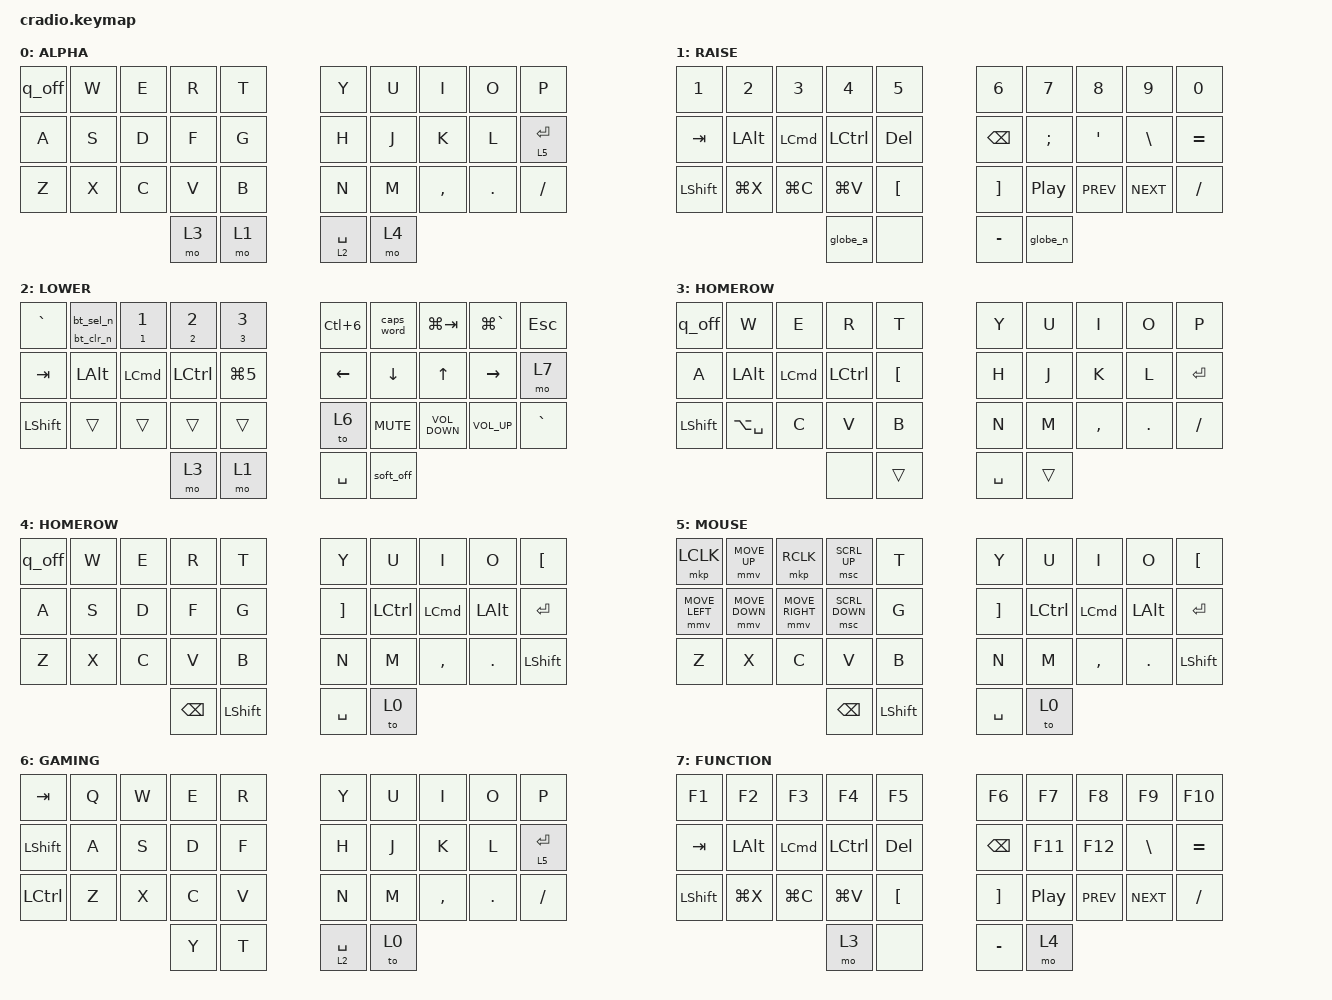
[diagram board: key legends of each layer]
#include <behaviors.dtsi>
#include <dt-bindings/zmk/keys.h>
#include <dt-bindings/zmk/bt.h>

#define ZMK_POINTING_DEFAULT_MOVE_VAL 1500  // default: 600
#define ZMK_POINTING_DEFAULT_SCRL_VAL 20
#include <dt-bindings/zmk/pointing.h>
#include <dt-bindings/zmk/ext_power.h>

#define L0 0
#define L1 1
#define L2 2
#define L3 3
#define L4 4
#define L5 5
#define L6 6
#define L7 7

// 34-key (3x5+2) position map for the Ferris Sweep / cradio shield.
#define KEYS_L 0 1 2 3 4 10 11 12 13 14 20 21 22 23 24 30
#define KEYS_R 5 6 7 8 9 15 16 17 18 19 25 26 27 28 29 32 33
#define THUMBS 30 31 32 33

&soft_off {
  /* Make the peripheral wait for release too, instead of powering off
   * instantly on press. The instant-on-press path races the USB/BLE
   * logging flush and appears to also skip arming the peripheral's
   * wakeup-source reliably, which is why the right half needed a hardware
   * reset to wake. Trade-off: if the BLE link drops mid-press, the
   * peripheral may not get the off command at all (see ZMK docs). */
  /delete-property/ split-peripheral-off-on-press;
};

/ {
  macros {
    globe_a: globe_a {
      compatible = "zmk,behavior-macro";
      #binding-cells = <0>;
      bindings
        = <&macro_press &kp C_AC_NEXT_KEYBOARD_LAYOUT_SELECT>
        , <&macro_tap &kp A>
        , <&macro_release &kp C_AC_NEXT_KEYBOARD_LAYOUT_SELECT>;
    };

    globe_n: globe_n {
      compatible = "zmk,behavior-macro";
      #binding-cells = <0>;
      bindings
        = <&macro_press &kp C_AC_NEXT_KEYBOARD_LAYOUT_SELECT>
        , <&macro_tap &kp N>
        , <&macro_release &kp C_AC_NEXT_KEYBOARD_LAYOUT_SELECT>;
    };

    /* Lock the Mac (Ctrl+Cmd+Q), then soft-off both halves. The 500ms wait
     * after the lock tap gives the HID report time to reach the host over
     * BLE before the radio powers down. &soft_off is global-locality, so the
     * peripheral half is powered off too when invoked from this macro.
     * Triggered by &q_off below, not bound directly. */
    lock_off: lock_off {
      compatible = "zmk,behavior-macro";
      #binding-cells = <0>;
      wait-ms = <15>;
      tap-ms = <30>;
      bindings
        = <&macro_wait_time 500>
        , <&macro_tap &kp LC(LG(Q))>
        , <&macro_tap &soft_off>;
    };

    /* One-param wrappers around &bt so they fit in a hold-tap (which passes
     * a single param to each side). ZMK has no "clear profile N" command --
     * BT_CLR only clears the active profile -- so select N first, then clear. */
    bt_sel_n: bt_sel_n {
      compatible = "zmk,behavior-macro-one-param";
      #binding-cells = <1>;
      bindings
        = <&macro_param_1to2>
        , <&macro_tap &bt BT_SEL_CMD MACRO_PLACEHOLDER>;
    };

    bt_clr_n: bt_clr_n {
      compatible = "zmk,behavior-macro-one-param";
      #binding-cells = <1>;
      bindings
        = <&macro_param_1to2>
        , <&macro_tap &bt BT_SEL_CMD MACRO_PLACEHOLDER>
        , <&macro_tap &bt BT_CLR>;
    };
  };

  behaviors {
    /* &bt_ht N N: tap selects BT profile N; hold 3s selects and clears it.
     * tap-preferred so pressing other keys mid-hold never triggers the clear
     * early -- only the full 3s hold does. */
    bt_ht: bt_ht {
      compatible = "zmk,behavior-hold-tap";
      #binding-cells = <2>;
      flavor = "tap-preferred";
      tapping-term-ms = <3000>;
      bindings = <&bt_clr_n>, <&bt_sel_n>;
    };

    /* Q key that also powers off when pressed as Ctrl+Cmd+Q.
     * A single mod-morph fires if ANY of its mods is held (so Cmd+Q alone
     * would trigger it), hence two nested morphs: Ctrl -> Cmd -> &lock_off.
     * keep-mods stops the outer morph from masking Ctrl out of the report.
     * Any other combo (plain Q, Cmd+Q, Ctrl+Q, ...) is just &kp Q. */
    q_cmd_off: q_cmd_off {
      compatible = "zmk,behavior-mod-morph";
      #binding-cells = <0>;
      bindings = <&kp Q>, <&lock_off>;
      mods = <(MOD_LGUI|MOD_RGUI)>;
      keep-mods = <(MOD_LGUI|MOD_RGUI)>;
    };

    q_off: q_off {
      compatible = "zmk,behavior-mod-morph";
      #binding-cells = <0>;
      bindings = <&kp Q>, <&q_cmd_off>;
      mods = <(MOD_LCTL|MOD_RCTL)>;
      keep-mods = <(MOD_LCTL|MOD_RCTL)>;
    };
  };

  keymap {
    compatible = "zmk,keymap";

    /**
     * Alpha layer (L0)
     *
     * Thumbs (4): the Corne's outer-left CAPS and the right-middle &mo L4 are
     * dropped here -- the Sweep only has two thumb keys per side. CAPS now
     * lives on L2 (bottom row, far right); L4 is entered from L2's outer-right
     * thumb, or from L7.
     */
    layer_0 {
      label = "ALPHA";
      bindings = <
        &q_off    &kp W       &kp E       &kp R        &kp T       &kp Y      &kp U        &kp I       &kp O       &kp P
        &kp A     &kp S       &kp D       &kp F        &kp G       &kp H      &kp J        &kp K       &kp L       &lt L5 RET
        &kp Z     &kp X       &kp C       &kp V        &kp B       &kp N      &kp M        &kp COMMA   &kp DOT     &kp FSLH
                                          &mo L3       &mo L1      &lt L2 SPACE &mo 4
      >;
    };

    /**
     * Symbols layer (L1)
     *
     * Held with the left inner thumb. The Corne's outer-right &sl L3 is dropped
     * (redundant: &mo L3 sits on the left outer thumb of this same layer).
     */
    layer_1 {
      label = "RAISE";
      bindings = <
        &kp N1     &kp N2    &kp N3    &kp N4     &kp N5     &kp N6    &kp N7    &kp N8     &kp N9     &kp N0
        &kp TAB    &kp LALT  &kp LCMD  &kp LCTRL  &kp DEL    &kp BSPC  &kp SEMI  &kp SQT    &kp BSLH   &kp EQUAL
        &kp LSHIFT &kp LG(X) &kp LG(C) &kp LG(V)  &kp LBKT   &kp RBKT  &kp C_PP  &kp C_PREV &kp C_NEXT &kp FSLH
                                       &globe_a     &none      &kp MINUS &globe_n
      >;
    };

    /**
     * Number and directions layer (L2)
     *
     * Held with the right inner thumb. &mo L4 moves from the Corne's right
     * middle thumb to the right outer thumb; &sl L3 is dropped (redundant with
     * &mo L3 on the left outer thumb). &kp CAPS lands on the bottom row, far
     * right, replacing a duplicate &kp LSHIFT.
     */
    layer_2 {
      label = "LOWER";
      bindings = <
        &kp GRAVE  &bt_ht 0 0   &bt_ht 1 1   &bt_ht 2 2   &bt_ht 3 3 &kp LC(N6) &caps_word &kp LG(TAB)       &kp LG(GRAVE)   &kp ESC
        &kp TAB    &kp LALT      &kp LCMD     &kp LCTRL    &kp LG(N5)   &kp LEFT   &kp DOWN   &kp UP            &kp RIGHT       &mo L7
        &kp LSHIFT &trans     &trans &trans &trans &to L6     &kp C_MUTE &kp C_VOLUME_DOWN &kp C_VOLUME_UP &kp GRAVE
                                              &mo L3       &mo L1       &kp SPACE  &soft_off
      >;
    };

    /**
     * Controls homerow mod (L3)
     *
     * Held with the left outer thumb.
     */
    layer_3 {
      label = "HOMEROW";
      bindings = <
        &q_off    &kp W     &kp E     &kp R     &kp T      &kp Y     &kp U     &kp I     &kp O    &kp P
        &kp A     &kp LALT  &kp LCMD  &kp LCTRL &kp LBKT   &kp H     &kp J     &kp K     &kp L    &kp RET
        &kp LSHFT &kp LA(SPACE) &kp C  &kp V  &kp B      &kp N     &kp M     &kp COMMA &kp DOT  &kp SLASH
                                      &none     &trans  &kp SPACE &trans
      >;
    };

    /**
     * Controls homerow mod (L4)
     *
     * Reached from L2 (outer right thumb) or L7.
     */
    layer_4 {
      label = "HOMEROW";
      bindings = <
        &q_off    &kp W     &kp E     &kp R     &kp T      &kp Y     &kp U     &kp I     &kp O    &kp LBKT
        &kp A     &kp S     &kp D     &kp F     &kp G      &kp RBKT  &kp LCTRL &kp LCMD  &kp LALT &kp RET
        &kp Z     &kp X     &kp C     &kp V     &kp B      &kp N     &kp M     &kp COMMA &kp DOT  &kp LSHFT
                                      &kp BSPC  &kp LSHFT  &kp SPACE &to L0
      >;
    };

    /**
     * Mouse layer (L5) -- held with &lt L5 RET on the right home row.
     */
    layer_5 {
      label = "MOUSE";
      bindings = <
        &mkp LCLK      &mmv MOVE_UP   &mkp RCLK       &msc SCRL_UP    &kp T      &kp Y     &kp U     &kp I     &kp O    &kp LBKT
        &mmv MOVE_LEFT &mmv MOVE_DOWN &mmv MOVE_RIGHT &msc SCRL_DOWN  &kp G      &kp RBKT  &kp LCTRL &kp LCMD  &kp LALT &kp RET
        &kp Z          &kp X          &kp C           &kp V           &kp B      &kp N     &kp M     &kp COMMA &kp DOT  &kp LSHFT
                                                      &kp BSPC        &kp LSHFT  &kp SPACE &to L0
      >;
    };

    /**
     * Gaming layer (L6)
     *
     * The Corne's left outer thumb (&kp G) is dropped; &to L0 is kept on the
     * right outer thumb as the only way back out of this layer.
     */
    layer_6 {
      label = "GAMING";
      bindings = <
        &kp TAB     &kp Q     &kp W     &kp E     &kp R       &kp Y        &kp U      &kp I     &kp O   &kp P
        &kp LSHIFT  &kp A     &kp S     &kp D     &kp F       &kp H        &kp J      &kp K     &kp L   &lt L5 RET
        &kp LCTRL   &kp Z     &kp X     &kp C     &kp V       &kp N        &kp M      &kp COMMA &kp DOT &kp FSLH
                                        &kp Y     &kp T       &lt L2 SPACE &to L0
      >;
    };

    /**
     * Function layer (L7) -- held with &mo L7 on L2.
     *
     * &sl L3 is dropped (redundant with &mo L3 on the left outer thumb); &mo L4
     * moves to the right outer thumb.
     */
    layer_7 {
      label = "FUNCTION";
      bindings = <
        &kp F1     &kp F2    &kp F3    &kp F4     &kp F5     &kp F6    &kp F7   &kp F8     &kp F9     &kp F10
        &kp TAB    &kp LALT  &kp LCMD  &kp LCTRL  &kp DEL    &kp BSPC  &kp F11  &kp F12    &kp BSLH   &kp EQUAL
        &kp LSHIFT &kp LG(X) &kp LG(C) &kp LG(V)  &kp LBKT   &kp RBKT  &kp C_PP &kp C_PREV &kp C_NEXT &kp FSLH
                                       &mo L3     &none      &kp MINUS &mo L4
      >;
    };
  };
};
